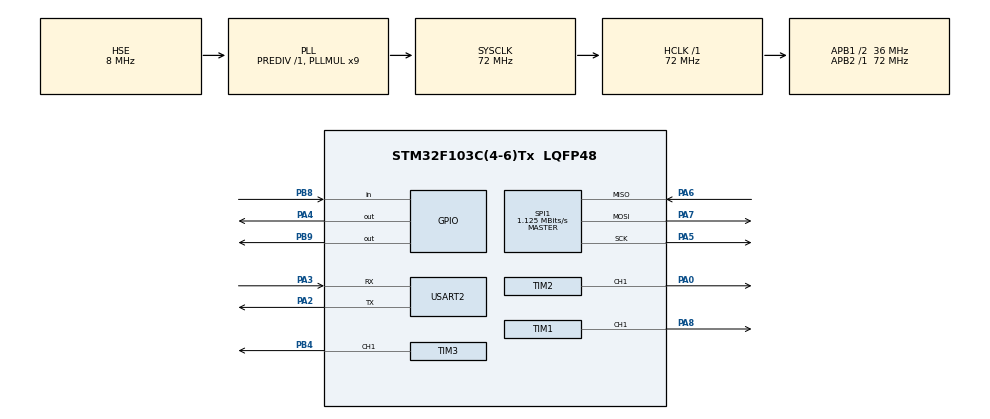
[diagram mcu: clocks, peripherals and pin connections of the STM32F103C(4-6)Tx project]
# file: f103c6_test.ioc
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Dma.Request0=TIM1_CH1
Dma.Request1=TIM3_CH1/TRIG
Dma.TIM1_CH1.0.Direction=DMA_MEMORY_TO_PERIPH
Dma.TIM1_CH1.0.Instance=DMA1_Channel2
Dma.TIM1_CH1.0.MemDataAlignment=DMA_MDATAALIGN_HALFWORD
Dma.TIM1_CH1.0.MemInc=DMA_MINC_ENABLE
Dma.TIM1_CH1.0.Mode=DMA_NORMAL
Dma.TIM1_CH1.0.PeriphDataAlignment=DMA_PDATAALIGN_HALFWORD
Dma.TIM1_CH1.0.PeriphInc=DMA_PINC_DISABLE
Dma.TIM1_CH1.0.Priority=DMA_PRIORITY_VERY_HIGH
Dma.TIM3_CH1/TRIG.1.Direction=DMA_MEMORY_TO_PERIPH
Dma.TIM3_CH1/TRIG.1.Instance=DMA1_Channel6
Dma.TIM3_CH1/TRIG.1.MemDataAlignment=DMA_MDATAALIGN_HALFWORD
Dma.TIM3_CH1/TRIG.1.MemInc=DMA_MINC_ENABLE
Dma.TIM3_CH1/TRIG.1.Mode=DMA_NORMAL
Dma.TIM3_CH1/TRIG.1.PeriphDataAlignment=DMA_PDATAALIGN_HALFWORD
Dma.TIM3_CH1/TRIG.1.PeriphInc=DMA_PINC_DISABLE
Dma.TIM3_CH1/TRIG.1.Priority=DMA_PRIORITY_LOW
Mcu.Family=STM32F1
Mcu.Name=STM32F103C(4-6)Tx
Mcu.Package=LQFP48
NVIC.DMA1_Channel2_IRQn=true\:0\:0\:false\:false\:true\:false\:true
NVIC.DMA1_Channel6_IRQn=true\:0\:0\:false\:false\:true\:false\:true
NVIC.PriorityGroup=NVIC_PRIORITYGROUP_4
NVIC.SPI1_IRQn=true\:0\:0\:false\:false\:true\:true\:true
NVIC.USART2_IRQn=true\:0\:0\:false\:false\:true\:true\:true
PA0-WKUP.Signal=S_TIM2_CH1_ETR
PA13.Mode=Serial_Wire
PA13.Signal=SYS_JTMS-SWDIO
PA14.Mode=Serial_Wire
PA14.Signal=SYS_JTCK-SWCLK
PA2.Mode=Asynchronous
PA2.Signal=USART2_TX
PA3.Mode=Asynchronous
PA3.Signal=USART2_RX
PA4.GPIO_PuPd=GPIO_PULLDOWN
PA4.PinState=GPIO_PIN_SET
PA4.Signal=GPIO_Output
PA5.Mode=Full_Duplex_Master
PA5.Signal=SPI1_SCK
PA6.Mode=Full_Duplex_Master
PA6.Signal=SPI1_MISO
PA7.Mode=Full_Duplex_Master
PA7.Signal=SPI1_MOSI
PA8.GPIO_Speed=GPIO_SPEED_FREQ_HIGH
PA8.Signal=S_TIM1_CH1
PB3.Signal=SYS_JTDO-TRACESWO
PB4.Signal=S_TIM3_CH1
PB8.Signal=GPIO_Input
PB9.PinState=GPIO_PIN_SET
PB9.Signal=GPIO_Output
PC14-OSC32_IN.Mode=LSE-External-Oscillator
PC14-OSC32_IN.Signal=RCC_OSC32_IN
PC15-OSC32_OUT.Mode=LSE-External-Oscillator
PC15-OSC32_OUT.Signal=RCC_OSC32_OUT
PD0-OSC_IN.Mode=HSE-External-Oscillator
PD0-OSC_IN.Signal=RCC_OSC_IN
PD1-OSC_OUT.Mode=HSE-External-Oscillator
PD1-OSC_OUT.Signal=RCC_OSC_OUT
ProjectManager.HeapSize=0x200
ProjectManager.StackSize=0x400
ProjectManager.TargetToolchain=MDK-ARM V5
RCC.AHBFreq_Value=72000000
RCC.APB1CLKDivider=RCC_HCLK_DIV2
RCC.APB1Freq_Value=36000000
RCC.APB1TimFreq_Value=72000000
RCC.APB2Freq_Value=72000000
RCC.APB2TimFreq_Value=72000000
RCC.HCLKFreq_Value=72000000
RCC.PLLMUL=RCC_PLL_MUL9
RCC.PLLSourceVirtual=RCC_PLLSOURCE_HSE
RCC.SYSCLKFreq_VALUE=72000000
RCC.SYSCLKSource=RCC_SYSCLKSOURCE_PLLCLK
RCC.USBFreq_Value=72000000
SH.S_TIM1_CH1.0=TIM1_CH1,PWM Generation1 CH1
SH.S_TIM2_CH1_ETR.0=TIM2_CH1,PWM Generation1 CH1
SH.S_TIM3_CH1.0=TIM3_CH1,PWM Generation1 CH1
SPI1.BaudRatePrescaler=SPI_BAUDRATEPRESCALER_64
SPI1.CLKPolarity=SPI_POLARITY_LOW
SPI1.CalculateBaudRate=1.125 MBits/s
SPI1.DataSize=SPI_DATASIZE_16BIT
SPI1.Direction=SPI_DIRECTION_2LINES
SPI1.FirstBit=SPI_FIRSTBIT_MSB
SPI1.Mode=SPI_MODE_MASTER
SPI1.VirtualType=VM_MASTER
TIM1.Channel-PWM\ Generation1\ CH1=TIM_CHANNEL_1
TIM1.Period=62100 / 2
TIM2.Channel-PWM\ Generation1\ CH1=TIM_CHANNEL_1
TIM2.Period=800
TIM2.Prescaler=35999
TIM3.Channel-PWM\ Generation1\ CH1=TIM_CHANNEL_1
TIM3.Period=100
USART2.VirtualMode=VM_ASYNC
VP_TIM1_VS_ClockSourceINT.Mode=Internal
VP_TIM2_VS_ClockSourceINT.Mode=Internal
VP_TIM3_VS_ClockSourceINT.Mode=Internal
board=custom

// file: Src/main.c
/* USER CODE BEGIN Header */
/**
  ******************************************************************************
  * @file           : main.c
  * @brief          : Main program body
  ******************************************************************************
  * @attention
  *
  * <h2><center>&copy; Copyright (c) 2019 STMicroelectronics.
  * All rights reserved.</center></h2>
  *
  * This software component is licensed by ST under BSD 3-Clause license,
  * the "License"; You may not use this file except in compliance with the
  * License. You may obtain a copy of the License at:
  *                        opensource.org/licenses/BSD-3-Clause
  *
  ******************************************************************************
  */
/* USER CODE END Header */

#include "main.h"

/* USER CODE BEGIN Includes */
#include <stdlib.h>
#include <time.h>

#include "ws2818.h"
/* USER CODE END Includes */

SPI_HandleTypeDef hspi1;

TIM_HandleTypeDef htim1;
TIM_HandleTypeDef htim2;
TIM_HandleTypeDef htim3;
DMA_HandleTypeDef hdma_tim1_ch1;
DMA_HandleTypeDef hdma_tim3_ch1_trig;

UART_HandleTypeDef huart2;

void SystemClock_Config(void);
static void MX_GPIO_Init(void);
static void MX_DMA_Init(void);
static void MX_TIM1_Init(void);
static void MX_USART2_UART_Init(void);
static void MX_SPI1_Init(void);
static void MX_TIM2_Init(void);
static void MX_TIM3_Init(void);

/* USER CODE BEGIN 0 */
void pwm_dma_success(void)
{
    HAL_TIM_PWM_Stop_DMA(&htim1, TIM_CHANNEL_1);
}

void pwm_dma_leds_success(void)
{
    HAL_TIM_PWM_Stop_DMA(&htim3, TIM_CHANNEL_1);
}

static void set_reg(const uint16_t data)
{
    HAL_GPIO_WritePin(GPIOA, GPIO_PIN_4, GPIO_PIN_RESET);
    HAL_SPI_Transmit(&hspi1, (uint8_t *)&data, 1, 50);
    HAL_GPIO_WritePin(GPIOA, GPIO_PIN_4, GPIO_PIN_SET);
}

struct LED tst[LEDS_CNT];
/* USER CODE END 0 */

#include <math.h>
int main(void)
{

  /* MCU Configuration--------------------------------------------------------*/

  /* Reset of all peripherals, Initializes the Flash interface and the Systick. */
  HAL_Init();

  /* Configure the system clock */
  SystemClock_Config();

  /* Initialize all configured peripherals */
  MX_GPIO_Init();
  MX_DMA_Init();
  MX_TIM1_Init();
  MX_USART2_UART_Init();
  MX_SPI1_Init();
  MX_TIM2_Init();
  MX_TIM3_Init();

  /* Infinite loop */
  /* USER CODE BEGIN WHILE */
  uint8_t buf[256] = {0};
  memset(buf, 0, sizeof(buf));

  //HAL_UART_Receive_DMA(&huart2, (uint8_t*) buf, 12);

  /* Infinite loop */
  /* USER CODE BEGIN WHILE */

    #define BIT_LOW (uint16_t)0
    #define BIT_HIGH (uint16_t)(htim1.Init.Period - 0x0A)

    uint16_t dt[256];
    memset(dt, BIT_LOW, sizeof(dt));

    const uint16_t preamb = 12 * 2;
    const uint16_t delay = 9;

    for(uint16_t i = 0; i < preamb; ++i) {
        if(!(i%2)) {
            dt[i] = BIT_HIGH;
        }
    }
    for(uint16_t i = preamb; i < preamb + delay; ++i) {
        dt[i] = BIT_LOW;
    }

#define TRIPPLE(F, S, T) \
    dt[index++] = F; \
    dt[index++] = S; \
    dt[index++] = T

#define T21 TRIPPLE(BIT_HIGH, BIT_HIGH, BIT_LOW)
#define T12 TRIPPLE(BIT_HIGH, BIT_LOW, BIT_LOW)

    //HAL_TIM_PWM_Start(&htim2, TIM_CHANNEL_1);

    leds_clear();

    uint16_t index = 0;

    //HAL_SPI_Transmit_IT(&hspi1, "1", 1);

//        for(uint8_t i = 0; i < LEDS_CNT; ++ i)
//            leds_buf_to_dma(0x80, 0x80, 0x80, i);
//
//            leds_light();

set_reg(0x0F00);
set_reg(0x0C01);

set_reg(0x09FF);
set_reg(0x0B07);
set_reg(0x0A0F);

for(uint8_t i = 1; i < 9; ++i) {
    set_reg((uint16_t)(i << 8));
}

set_reg(0x0480);
set_reg(0x050D);
set_reg(0x060D);
set_reg(0x070B);
set_reg(0x080C);

set_reg(0x030A);
set_reg(0x020F);
set_reg(0x010F);
uint8_t ind = 0;

uint16_t _time = 0;

const uint8_t leds_cnt = LEDS_CNT;

leds_init(tst, leds_cnt);

for(uint8_t i = 0; i < leds_cnt; ++i) {
    tst[i].R = 0x20;
    tst[i].G = 0x40;
    tst[i].B = 0xF0;
    tst[i].type = LED_SENS_RAISING;
    tst[i].pos = i;
    tst[i].intens_inc = 0.001;
    tst[i].__intens = 0.005; // init intensity
    tst[i].repeate = 1;
    tst[i].intens_min = 0.005;
    tst[i].intens_max = 0.05;
    tst[i].time_divider = 0x1;
}

for(uint8_t i = 0; i < leds_cnt; ++i) {
    tst[i].R = (rand()%0xEF + 0x10);
    tst[i].G = (rand()%0xE0 + 0x1F);
    tst[i].B = (rand()%0xEF + 0x10);
}
uint16_t led_cnt = 1;
  while (1)
  {
//HAL_Delay(1);

    tst[led_cnt].R = tst[led_cnt-1].R;
    tst[led_cnt].G = tst[led_cnt-1].G;
    tst[led_cnt].B = tst[led_cnt-1].B;

    led_cnt++;
    if(led_cnt > leds_cnt) {
        led_cnt = 1;
        for(uint8_t i = 0; i < leds_cnt; ++i) {
            tst[i].R = (rand()%0xEF + 0x10);
            tst[i].G = (rand()%0xE0 + 0x1F);
            tst[i].B = (rand()%0xEF + 0x10);
        }
    }
    tst->update_time();

    leds_to_dma(tst, leds_cnt);
    leds_light();

//    if(!(time % 19)) {
//        color = color1;
//    } else if(!(time % 23)) {
//        color = color2;
//    } else if(!(time % 28)) {
//        color = color3;
//    } else if(!(time % 32)) {
//        color = color_w;
//    }

//    if(!(time%9)) {
//        leds_clear();
//        for(uint8_t i = 0; i < LEDS_CNT / 3; ++ i)
//            led_buf_to_dma(color[0], color[1], color[2], i);
//    } else if(!(time%11)) {
//        leds_clear();
//        for(uint8_t i = LEDS_CNT / 3; i < (LEDS_CNT / 3) * 2; ++ i)
//            led_buf_to_dma(color[0], color[1], color[2], i);
//    } else if(!(time%15)) {
//        leds_clear();
//        for(uint8_t i = (LEDS_CNT / 3) * 2; i < LEDS_CNT; ++ i)
//            led_buf_to_dma(color[0], color[1], color[2], i);
//    }
//    leds_light();
    _time++;

set_reg((0x01 << 8) | (ind & 0x0F));
set_reg((0x02 << 8) | ((ind & 0xF0) >> 4));

ind ++;
if ((ind & 0x0F) == 0x0A) {
    ind += 0x10;
    ind &= 0xF0;
}

if(ind > 0x99)
    ind = 0;

      //HAL_UART_Transmit_IT(&huart2, "test\r\n", 6);
      // key of front the door
    index = preamb + delay;
    T12; T21; T21; T21; T21; T21; T12; T21; T12; T21;
    T12; T12; T12; T12; T12; T21; T21; T21; T21; T12;
    T12; T21; T21; T12; T21; T12; T21; T12; T12; T12;
    T21; T12; T21; T21; T12; T21; T21; T21; T21; T12;
    T21; T12; T21; T21; T12; T21; T12; T21; T12; T12;

    //10
    T21; T21; T21; T21; T21; T21; T21; T21; T21; T21;

    T21; T12; T21; T21; T12;

    //HAL_TIM_PWM_Start_DMA(&htim1, TIM_CHANNEL_1, (uint32_t *)&dt, 229);
    HAL_Delay(117);

//    //key of back the door
//    index = preamb + delay;

//    T12; T21; T12; T12; T21; T12; T12; T21; T12; T21;
//    T12; T21; T21; T21; T12; T21; T21; T12; T12; T12;
//    T12; T12; T12; T21; T21; T21; T12; T21; T21; T12;
//    T12; T12; T21; T21; T12; T21; T21; T21; T21; T12;
//    T21; T12; T21; T21; T12; T21; T12; T21; T12; T12;

//    //10
//    T21; T21; T21; T21; T21; T21; T21; T21; T21; T21;

//    T21; T21; T21; T12; T12;

//    HAL_TIM_PWM_Start_DMA(&htim1, TIM_CHANNEL_1, (uint32_t *)&dt, 229);
//    HAL_Delay(117);
    /* USER CODE END WHILE */

  }
}

void SystemClock_Config(void)
{
  RCC_OscInitTypeDef RCC_OscInitStruct = {0};
  RCC_ClkInitTypeDef RCC_ClkInitStruct = {0};

  /** Initializes the CPU, AHB and APB busses clocks
  */
  RCC_OscInitStruct.OscillatorType = RCC_OSCILLATORTYPE_HSE;
  RCC_OscInitStruct.HSEState = RCC_HSE_ON;
  RCC_OscInitStruct.HSEPredivValue = RCC_HSE_PREDIV_DIV1;
  RCC_OscInitStruct.HSIState = RCC_HSI_ON;
  RCC_OscInitStruct.PLL.PLLState = RCC_PLL_ON;
  RCC_OscInitStruct.PLL.PLLSource = RCC_PLLSOURCE_HSE;
  RCC_OscInitStruct.PLL.PLLMUL = RCC_PLL_MUL9;
  if (HAL_RCC_OscConfig(&RCC_OscInitStruct) != HAL_OK)
  {
    Error_Handler();
  }
  /** Initializes the CPU, AHB and APB busses clocks
  */
  RCC_ClkInitStruct.ClockType = RCC_CLOCKTYPE_HCLK|RCC_CLOCKTYPE_SYSCLK
                              |RCC_CLOCKTYPE_PCLK1|RCC_CLOCKTYPE_PCLK2;
  RCC_ClkInitStruct.SYSCLKSource = RCC_SYSCLKSOURCE_PLLCLK;
  RCC_ClkInitStruct.AHBCLKDivider = RCC_SYSCLK_DIV1;
  RCC_ClkInitStruct.APB1CLKDivider = RCC_HCLK_DIV2;
  RCC_ClkInitStruct.APB2CLKDivider = RCC_HCLK_DIV1;

  if (HAL_RCC_ClockConfig(&RCC_ClkInitStruct, FLASH_LATENCY_2) != HAL_OK)
  {
    Error_Handler();
  }
}

static void MX_SPI1_Init(void)
{

  /* SPI1 parameter configuration*/
  hspi1.Instance = SPI1;
  hspi1.Init.Mode = SPI_MODE_MASTER;
  hspi1.Init.Direction = SPI_DIRECTION_2LINES;
  hspi1.Init.DataSize = SPI_DATASIZE_16BIT;
  hspi1.Init.CLKPolarity = SPI_POLARITY_LOW;
  hspi1.Init.CLKPhase = SPI_PHASE_1EDGE;
  hspi1.Init.NSS = SPI_NSS_SOFT;
  hspi1.Init.BaudRatePrescaler = SPI_BAUDRATEPRESCALER_64;
  hspi1.Init.FirstBit = SPI_FIRSTBIT_MSB;
  hspi1.Init.TIMode = SPI_TIMODE_DISABLE;
  hspi1.Init.CRCCalculation = SPI_CRCCALCULATION_DISABLE;
  hspi1.Init.CRCPolynomial = 10;
  if (HAL_SPI_Init(&hspi1) != HAL_OK)
  {
    Error_Handler();
  }

}

static void MX_TIM1_Init(void)
{

  TIM_ClockConfigTypeDef sClockSourceConfig = {0};
  TIM_MasterConfigTypeDef sMasterConfig = {0};
  TIM_OC_InitTypeDef sConfigOC = {0};
  TIM_BreakDeadTimeConfigTypeDef sBreakDeadTimeConfig = {0};

  htim1.Instance = TIM1;
  htim1.Init.Prescaler = 0;
  htim1.Init.CounterMode = TIM_COUNTERMODE_UP;
  htim1.Init.Period = 62100 / 2;
  htim1.Init.ClockDivision = TIM_CLOCKDIVISION_DIV1;
  htim1.Init.RepetitionCounter = 0;
  htim1.Init.AutoReloadPreload = TIM_AUTORELOAD_PRELOAD_DISABLE;
  if (HAL_TIM_Base_Init(&htim1) != HAL_OK)
  {
    Error_Handler();
  }
  sClockSourceConfig.ClockSource = TIM_CLOCKSOURCE_INTERNAL;
  if (HAL_TIM_ConfigClockSource(&htim1, &sClockSourceConfig) != HAL_OK)
  {
    Error_Handler();
  }
  if (HAL_TIM_PWM_Init(&htim1) != HAL_OK)
  {
    Error_Handler();
  }
  sMasterConfig.MasterOutputTrigger = TIM_TRGO_RESET;
  sMasterConfig.MasterSlaveMode = TIM_MASTERSLAVEMODE_DISABLE;
  if (HAL_TIMEx_MasterConfigSynchronization(&htim1, &sMasterConfig) != HAL_OK)
  {
    Error_Handler();
  }
  sConfigOC.OCMode = TIM_OCMODE_PWM1;
  sConfigOC.Pulse = 0;
  sConfigOC.OCPolarity = TIM_OCPOLARITY_HIGH;
  sConfigOC.OCNPolarity = TIM_OCNPOLARITY_HIGH;
  sConfigOC.OCFastMode = TIM_OCFAST_DISABLE;
  sConfigOC.OCIdleState = TIM_OCIDLESTATE_RESET;
  sConfigOC.OCNIdleState = TIM_OCNIDLESTATE_RESET;
  if (HAL_TIM_PWM_ConfigChannel(&htim1, &sConfigOC, TIM_CHANNEL_1) != HAL_OK)
  {
    Error_Handler();
  }
  sBreakDeadTimeConfig.OffStateRunMode = TIM_OSSR_DISABLE;
  sBreakDeadTimeConfig.OffStateIDLEMode = TIM_OSSI_DISABLE;
  sBreakDeadTimeConfig.LockLevel = TIM_LOCKLEVEL_OFF;
  sBreakDeadTimeConfig.DeadTime = 0;
  sBreakDeadTimeConfig.BreakState = TIM_BREAK_DISABLE;
  sBreakDeadTimeConfig.BreakPolarity = TIM_BREAKPOLARITY_HIGH;
  sBreakDeadTimeConfig.AutomaticOutput = TIM_AUTOMATICOUTPUT_DISABLE;
  if (HAL_TIMEx_ConfigBreakDeadTime(&htim1, &sBreakDeadTimeConfig) != HAL_OK)
  {
    Error_Handler();
  }
  HAL_TIM_MspPostInit(&htim1);

}

static void MX_TIM2_Init(void)
{

  TIM_ClockConfigTypeDef sClockSourceConfig = {0};
  TIM_MasterConfigTypeDef sMasterConfig = {0};
  TIM_OC_InitTypeDef sConfigOC = {0};

  htim2.Instance = TIM2;
  htim2.Init.Prescaler = 35999;
  htim2.Init.CounterMode = TIM_COUNTERMODE_UP;
  htim2.Init.Period = 800;
  htim2.Init.ClockDivision = TIM_CLOCKDIVISION_DIV1;
  htim2.Init.AutoReloadPreload = TIM_AUTORELOAD_PRELOAD_DISABLE;
  if (HAL_TIM_Base_Init(&htim2) != HAL_OK)
  {
    Error_Handler();
  }
  sClockSourceConfig.ClockSource = TIM_CLOCKSOURCE_INTERNAL;
  if (HAL_TIM_ConfigClockSource(&htim2, &sClockSourceConfig) != HAL_OK)
  {
    Error_Handler();
  }
  if (HAL_TIM_PWM_Init(&htim2) != HAL_OK)
  {
    Error_Handler();
  }
  sMasterConfig.MasterOutputTrigger = TIM_TRGO_RESET;
  sMasterConfig.MasterSlaveMode = TIM_MASTERSLAVEMODE_DISABLE;
  if (HAL_TIMEx_MasterConfigSynchronization(&htim2, &sMasterConfig) != HAL_OK)
  {
    Error_Handler();
  }
  sConfigOC.OCMode = TIM_OCMODE_PWM1;
  sConfigOC.Pulse = 0;
  sConfigOC.OCPolarity = TIM_OCPOLARITY_HIGH;
  sConfigOC.OCFastMode = TIM_OCFAST_DISABLE;
  if (HAL_TIM_PWM_ConfigChannel(&htim2, &sConfigOC, TIM_CHANNEL_1) != HAL_OK)
  {
    Error_Handler();
  }
  HAL_TIM_MspPostInit(&htim2);

}

static void MX_TIM3_Init(void)
{

  TIM_ClockConfigTypeDef sClockSourceConfig = {0};
  TIM_MasterConfigTypeDef sMasterConfig = {0};
  TIM_OC_InitTypeDef sConfigOC = {0};

  htim3.Instance = TIM3;
  htim3.Init.Prescaler = 0;
  htim3.Init.CounterMode = TIM_COUNTERMODE_UP;
  htim3.Init.Period = 100;
  htim3.Init.ClockDivision = TIM_CLOCKDIVISION_DIV1;
  htim3.Init.AutoReloadPreload = TIM_AUTORELOAD_PRELOAD_DISABLE;
  if (HAL_TIM_Base_Init(&htim3) != HAL_OK)
  {
    Error_Handler();
  }
  sClockSourceConfig.ClockSource = TIM_CLOCKSOURCE_INTERNAL;
  if (HAL_TIM_ConfigClockSource(&htim3, &sClockSourceConfig) != HAL_OK)
  {
    Error_Handler();
  }
  if (HAL_TIM_PWM_Init(&htim3) != HAL_OK)
  {
    Error_Handler();
  }
  sMasterConfig.MasterOutputTrigger = TIM_TRGO_RESET;
  sMasterConfig.MasterSlaveMode = TIM_MASTERSLAVEMODE_DISABLE;
  if (HAL_TIMEx_MasterConfigSynchronization(&htim3, &sMasterConfig) != HAL_OK)
  {
    Error_Handler();
  }
  sConfigOC.OCMode = TIM_OCMODE_PWM1;
  sConfigOC.Pulse = 0;
  sConfigOC.OCPolarity = TIM_OCPOLARITY_HIGH;
  sConfigOC.OCFastMode = TIM_OCFAST_DISABLE;
  if (HAL_TIM_PWM_ConfigChannel(&htim3, &sConfigOC, TIM_CHANNEL_1) != HAL_OK)
  {
    Error_Handler();
  }
  HAL_TIM_MspPostInit(&htim3);

}

static void MX_USART2_UART_Init(void)
{

  huart2.Instance = USART2;
  huart2.Init.BaudRate = 115200;
  huart2.Init.WordLength = UART_WORDLENGTH_8B;
  huart2.Init.StopBits = UART_STOPBITS_1;
  huart2.Init.Parity = UART_PARITY_NONE;
  huart2.Init.Mode = UART_MODE_TX_RX;
  huart2.Init.HwFlowCtl = UART_HWCONTROL_NONE;
  huart2.Init.OverSampling = UART_OVERSAMPLING_16;
  if (HAL_UART_Init(&huart2) != HAL_OK)
  {
    Error_Handler();
  }

}

static void MX_DMA_Init(void)
{
  /* DMA controller clock enable */
  __HAL_RCC_DMA1_CLK_ENABLE();

  /* DMA interrupt init */
  /* DMA1_Channel2_IRQn interrupt configuration */
  HAL_NVIC_SetPriority(DMA1_Channel2_IRQn, 0, 0);
  HAL_NVIC_EnableIRQ(DMA1_Channel2_IRQn);
  /* DMA1_Channel6_IRQn interrupt configuration */
  HAL_NVIC_SetPriority(DMA1_Channel6_IRQn, 0, 0);
  HAL_NVIC_EnableIRQ(DMA1_Channel6_IRQn);

}

static void MX_GPIO_Init(void)
{
  GPIO_InitTypeDef GPIO_InitStruct = {0};

  /* GPIO Ports Clock Enable */
  __HAL_RCC_GPIOC_CLK_ENABLE();
  __HAL_RCC_GPIOD_CLK_ENABLE();
  __HAL_RCC_GPIOA_CLK_ENABLE();
  __HAL_RCC_GPIOB_CLK_ENABLE();

  /*Configure GPIO pin Output Level */
  HAL_GPIO_WritePin(GPIOA, GPIO_PIN_4, GPIO_PIN_SET);

  /*Configure GPIO pin Output Level */
  HAL_GPIO_WritePin(GPIOB, GPIO_PIN_9, GPIO_PIN_SET);

  /*Configure GPIO pin : PA4 */
  GPIO_InitStruct.Pin = GPIO_PIN_4;
  GPIO_InitStruct.Mode = GPIO_MODE_OUTPUT_PP;
  GPIO_InitStruct.Pull = GPIO_PULLDOWN;
  GPIO_InitStruct.Speed = GPIO_SPEED_FREQ_LOW;
  HAL_GPIO_Init(GPIOA, &GPIO_InitStruct);

  /*Configure GPIO pin : PB8 */
  GPIO_InitStruct.Pin = GPIO_PIN_8;
  GPIO_InitStruct.Mode = GPIO_MODE_INPUT;
  GPIO_InitStruct.Pull = GPIO_NOPULL;
  HAL_GPIO_Init(GPIOB, &GPIO_InitStruct);

  /*Configure GPIO pin : PB9 */
  GPIO_InitStruct.Pin = GPIO_PIN_9;
  GPIO_InitStruct.Mode = GPIO_MODE_OUTPUT_PP;
  GPIO_InitStruct.Pull = GPIO_NOPULL;
  GPIO_InitStruct.Speed = GPIO_SPEED_FREQ_LOW;
  HAL_GPIO_Init(GPIOB, &GPIO_InitStruct);

}

void Error_Handler(void)
{
}

/************************ (C) COPYRIGHT STMicroelectronics *****END OF FILE****/
